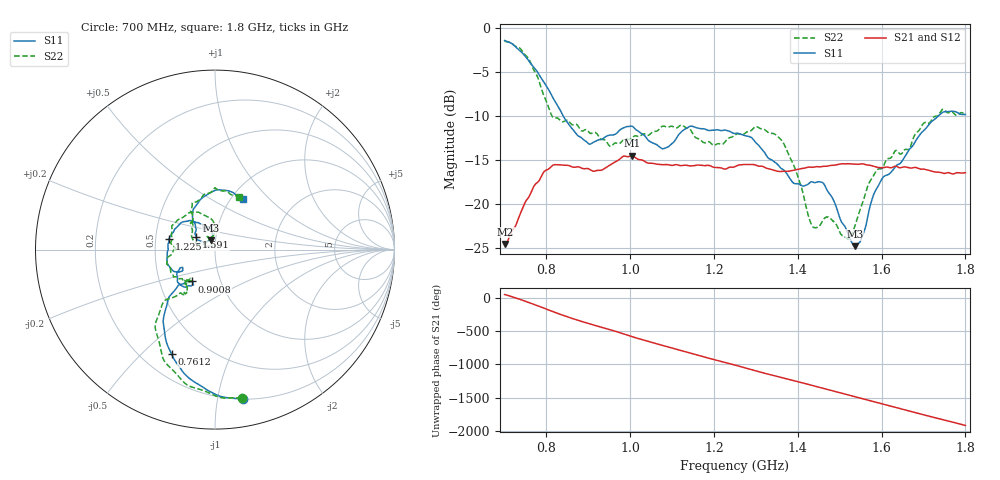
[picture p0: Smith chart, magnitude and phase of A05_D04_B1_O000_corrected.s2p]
! Created with skrf 1.9.0 (http://scikit-rf.org).
# Hz S RI R 50.0
!freq ReS11 ImS11 ReS21 ImS21 ReS12 ImS12 ReS22 ImS22
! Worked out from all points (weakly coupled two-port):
!   1601 points, 700 MHz to 1.8 GHz, reference 50 ohm
!   highest |S21| = -14.54 dB at 1.005 GHz (marker M1); lowest = -24.6 dB at 701.4 MHz (marker M2)
!   lowest |S11| = -24.8 dB at 1.536 GHz (marker M3), VSWR 1.12, Z = 47.4 + j4.99 ohm
!   |S11| at or under -10 dB: 839.7 MHz to 1.736 GHz (896.1 MHz wide, 69.6 % of centre)
!   |S22| runs from -24.0 to -1.5 dB; largest |S21 - S12| = 0.0035
!   S11 on the Smith chart (normalised r, x): 700 MHz: 0.20, -1.19; 761.2 MHz: 0.32, -0.62; 900.8 MHz: 0.73, -0.27; 1.225 GHz: 0.59, +0.08; 1.591 GHz: 0.80, +0.11; 1.8 GHz: 1.13, +0.71
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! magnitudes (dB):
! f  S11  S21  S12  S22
! 700 MHz  -1.4  -24.6  -24.3  -1.5
! 701.4 MHz  -1.5  -24.6  -24.2  -1.5
! 761.2 MHz  -4.0  -18.9  -18.8  -3.8
! 814.1 MHz  -7.9  -15.6  -15.7  -10.1
! 883.6 MHz  -12.5  -15.9  -15.8  -11.7
! 900.8 MHz  -13.2  -16.0  -16.0  -11.8
! 953 MHz  -12.2  -15.6  -15.5  -13.5
! 1.005 GHz  -11.2  -14.5  -14.7  -12.5
! 1.067 GHz  -13.4  -15.5  -15.5  -11.6
! 1.143 GHz  -11.2  -15.7  -15.7  -11.6
! 1.225 GHz  -11.6  -16.0  -16.0  -13.1
! 1.25 GHz  -12.0  -15.8  -15.7  -12.2
! 1.302 GHz  -13.1  -15.7  -15.6  -11.2
! 1.359 GHz  -15.9  -16.3  -16.3  -12.7
! 1.434 GHz  -17.5  -15.9  -15.8  -22.5
! 1.463 GHz  -17.8  -15.7  -15.7  -21.7
! 1.518 GHz  -23.2  -15.4  -15.5  -24.0
! 1.536 GHz  -24.8  -15.5  -15.5  -22.6
! 1.591 GHz  -18.0  -15.9  -15.8  -16.1
! 1.617 GHz  -16.6  -15.9  -15.8  -14.8
! 1.742 GHz  -9.7  -16.4  -16.4  -9.4
! 1.8 GHz  -9.8  -16.5  -16.5  -9.9
